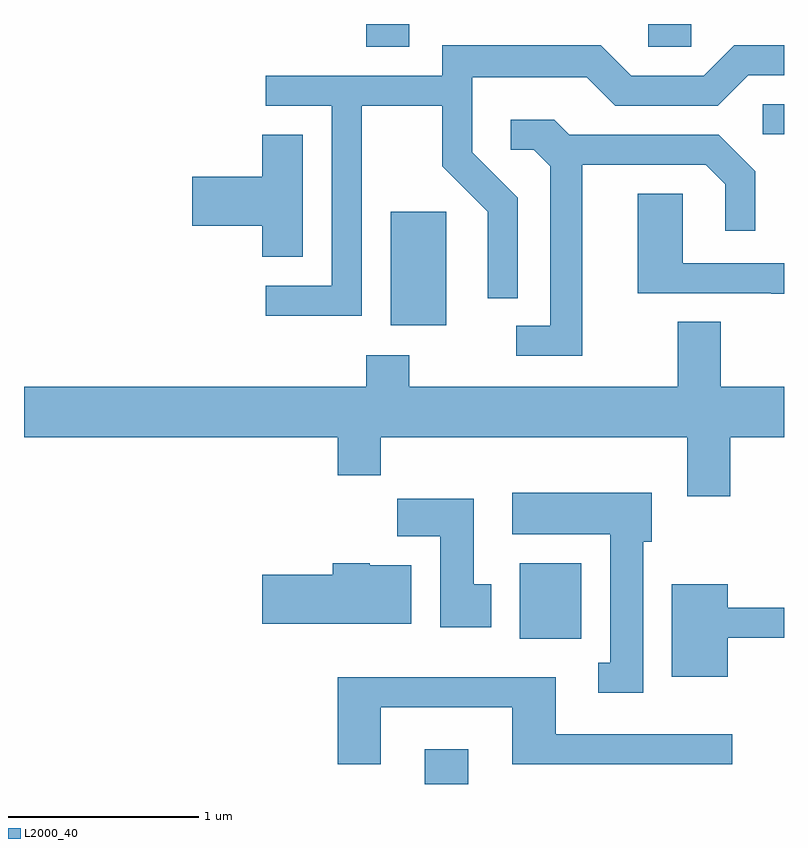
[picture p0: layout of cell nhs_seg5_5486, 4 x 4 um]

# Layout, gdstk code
import gdstk
lib = gdstk.Library(unit=1e-6, precision=1e-09)
def R(c, l, rs):  # rectangles x0, y0, x1, y1
    for r in rs: c.add(gdstk.rectangle(r[:2], r[2:], *l))
def P(c, l, *ps):  # polygons
    for p in ps: c.add(gdstk.Polygon(p, *l))
L2000_40 = (2000, 40)

nhs_seg5_5486 = lib.new_cell('nhs_seg5_5486')
R(nhs_seg5_5486, L2000_40, [(349.721,1466.072,349.949,1466.254), (350.221,1466.836,350.544,1467.234), (349.541,1468.486,349.834,1469.084), (351.498,1469.491,351.611,1469.649), (349.411,1469.951,349.639,1470.072), (350.896,1469.951,351.124,1470.072)])
P(nhs_seg5_5486, L2000_40, [(349.389,1469.641),(349.811,1469.641),(349.811,1469.324),(350.051,1469.084),(350.051,1468.628),(350.209,1468.628),(350.209,1469.157),(349.969,1469.397),(349.969,1469.791),(350.574,1469.791),(350.724,1469.641),(351.262,1469.641),(351.422,1469.801),(351.611,1469.801),(351.611,1469.959),(351.349,1469.959),(351.189,1469.799),(350.807,1469.799),(350.647,1469.959),(349.811,1469.959),(349.811,1469.799),(348.883,1469.799),(348.883,1469.641),(349.231,1469.641),(349.231,1468.694),(348.883,1468.694),(348.883,1468.536),(349.389,1468.536)],
  [(350.549,1469.331),(351.199,1469.331),(351.301,1469.229),(351.301,1468.983),(351.459,1468.983),(351.459,1469.297),(351.267,1469.489),(350.482,1469.489),(350.402,1469.569),(350.173,1469.569),(350.173,1469.411),(350.294,1469.411),(350.381,1469.324),(350.381,1468.484),(350.203,1468.484),(350.203,1468.326),(350.549,1468.326)],
  [(349.079,1469.489),(348.866,1469.489),(348.866,1469.269),(348.496,1469.269),(348.496,1469.011),(348.866,1469.011),(348.866,1468.846),(349.079,1468.846)],
  [(351.611,1468.814),(351.079,1468.814),(351.079,1469.179),(350.841,1469.179),(350.841,1468.656),(351.545,1468.656),(351.545,1468.651),(351.611,1468.651)],
  [(351.329,1467.896),(351.611,1467.896),(351.611,1468.164),(351.279,1468.164),(351.279,1468.504),(351.051,1468.504),(351.051,1468.164),(349.639,1468.164),(349.639,1468.329),(349.411,1468.329),(349.411,1468.164),(347.611,1468.164),(347.611,1467.896),(349.261,1467.896),(349.261,1467.696),(349.489,1467.696),(349.489,1467.896),(351.101,1467.896),(351.101,1467.586),(351.329,1467.586)],
  [(350.869,1467.346),(350.914,1467.346),(350.914,1467.604),(350.181,1467.604),(350.181,1467.386),(350.696,1467.386),(350.696,1466.709),(350.633,1466.709),(350.633,1466.551),(350.869,1466.551)],
  [(350.069,1467.124),(349.979,1467.124),(349.979,1467.574),(349.576,1467.574),(349.576,1467.376),(349.801,1467.376),(349.801,1466.896),(350.069,1466.896)],
  [(349.649,1467.224),(349.43,1467.224),(349.43,1467.234),(349.236,1467.234),(349.236,1467.174),(348.866,1467.174),(348.866,1466.916),(349.649,1466.916)],
  [(351.314,1466.841),(351.611,1466.841),(351.611,1466.999),(351.314,1466.999),(351.314,1467.124),(351.021,1467.124),(351.021,1466.636),(351.314,1466.636)],
  [(349.489,1466.476),(350.181,1466.476),(350.181,1466.176),(351.338,1466.176),(351.338,1466.334),(350.409,1466.334),(350.409,1466.634),(349.261,1466.634),(349.261,1466.176),(349.489,1466.176)])

lib.write_gds('nhs_seg5_5486.gds')
